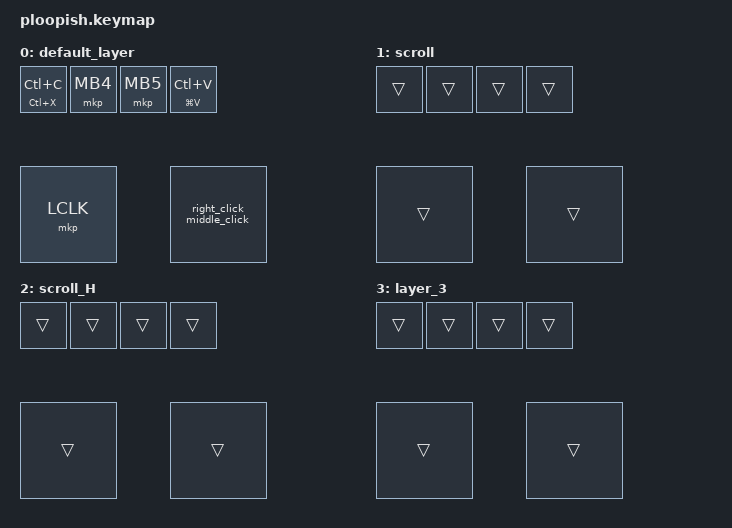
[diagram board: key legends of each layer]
#include <behaviors.dtsi>
#include <dt-bindings/zmk/pointing.h>

/ {
    combos {
        compatible = "zmk,combos";

        bootloader {
            bindings = <&bootloader>;
            key-positions = <0 3>;
        };

        middle_click {
            bindings = <&mo 1>;
            key-positions = <4 5>;
        };
    };

    behaviors {
        right_click_middle_click: right_click_middle_click {
            compatible = "zmk,behavior-tap-dance";
            label = "RIGHT_CLICK_MIDDLE_CLICK";
            #binding-cells = <0>;
            bindings = <&mkp RCLK>, <&mkp MB3>;
        };
    };

    keymap {
        compatible = "zmk,keymap";

        default_layer {
            // -------------------------------------
            // |     1     |     2     |     3     |     4     |
            // |     A     |                       |     B     |

            bindings = <
&mkp MB4         &mkp MB5
&mt LC(X) LC(C)  &mt LG(V) LC(V)
&mkp LCLK        &right_click_middle_click
            >;
        };

        scroll {
            bindings = <
&trans  &trans
&trans  &trans
&trans  &trans
            >;
        };

        scroll_H {
            bindings = <
&trans  &trans
&trans  &trans
&trans  &trans
            >;
        };

        layer_3 {
            bindings = <
&trans  &trans
&trans  &trans
&trans  &trans
            >;
        };
    };
};
